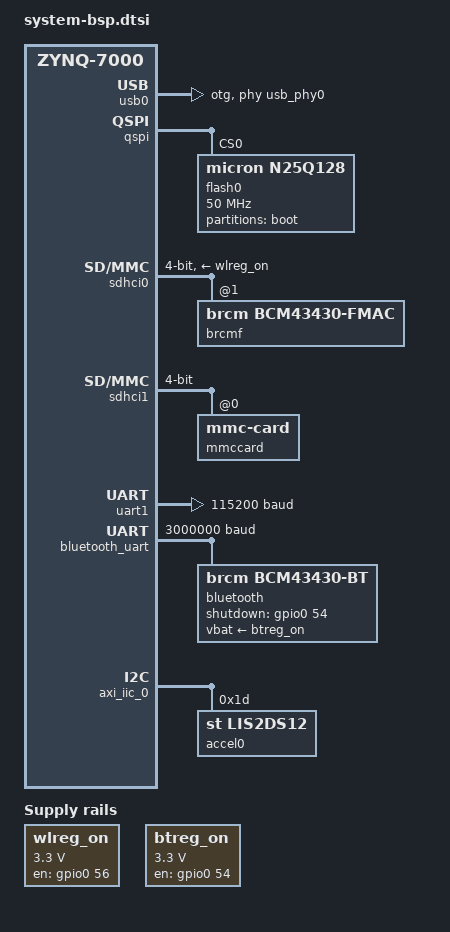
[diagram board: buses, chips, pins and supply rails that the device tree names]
#include "zynq-7000.dtsi"
#include "pl.dtsi"
#include "pcw.dtsi"
//#include "xilinx-vip.h"
/ {

    aliases {
        i2c0 = &axi_iic_0;
        serial0 = &uart1;
        serial1 = &uart0;
        serial2 = &bluetooth_uart;
        spi0 = &qspi;
    };

    /* WiFi Module:  WL_REG_ON GPIO Control */
    wlreg_on: wlreg-on {
        compatible = "regulator-fixed";
        regulator-name = "wlreg_on";
        enable-active-high;
        gpio = <&gpio0 56 0>;
        regulator-min-microvolt = <3300000>;
        regulator-max-microvolt = <3300000>;
        startup-delay-us = <100>;
    };

    /***** Uncomment this to use bcmdhd driver instead of brcmfmac driver
    bcmdhd_wlan_0: bcmdhd_wlan@0 {
        compatible = "android,bcmdhd_wlan";
        wlreg_on-supply = <&wlreg_on>;
    };
        /* gpios = <&gpio0 0 4>; */ /* OOB interrupts */

    btreg_on: btreg_on {
        compatible = "regulator-fixed";
        regulator-name = "btreg_on";
        regulator-min-microvolt = <3300000>;
        regulator-max-microvolt = <3300000>;
        gpio = <&gpio0 54 0>;
        enable-active-high;
        regulator-always-on;
        startup-delay-us = <100000>; /* 100ms delay después de activar */
    };
};

/{
    usb_phy0: usb_phy@0 {
        compatible = "ulpi-phy";
        #phy-cells = <0>;
        reg = <0xe0002000 0x1000>;
        view-port = <0x0170>;
        drv-vbus;
    };
};

&usb0 {
    dr_mode = "otg";
    usb-phy = <&usb_phy0>;
} ;

/* QSPI addresses are defined with petalinux-config, but here they are overwritten so that one can program the flash internally */
&qspi {
    #address-cells = <1>;
    #size-cells = <0>;
    flash0: flash@0 {
        compatible = "micron,m25p80";
        reg = <0x0>;
        #address-cells = <1>;
        #size-cells = <1>;
        spi-max-frequency = <50000000>;
        partition@0 {
            label = "boot";
            reg = <0x00000000 0x00ff0000>;
        };
    };
};

/* SD Interface for Wi-Fi Module */
&sdhci0 {
    status = "okay";
    bus-width= <4>;
    xlnx,has-cd = <0x0>;
    xlnx,has-power = <0x0>;
    xlnx,has-wp = <0x0>;
    non-removeable;
    broken-cd;
    vmmc-supply = <&wlreg_on>;  /* Uncomment for brcmfmac */
    /* wifi-host; */ /* uncomment for bcmdhd */


        brcmf: brcmf@1 {
        status = "okay";
                reg = <1>;
                compatible = "brcm,bcm43430-fmac";
        /* interrupt-parent = <&gpio0>; */ /* For WL_HOST_WAKE OOB Interrupt */
        /* interrupts = <0 29 8>; */  /* PL-PS direct interrupt, Low Level */
        /* interrupts = <57 8>; */ /* GPIO EMIO 3, Low Level */
        /* interrupt-names = "host-wake"; */
    };
};

/* SD Interface for eMMC */
&sdhci1 {
    status = "okay";
    non-removeable;
    bus-width= <4>;
    xlnx,has-cd = <0x0>;
    xlnx,has-power = <0x0>;
    xlnx,has-wp = <0x0>;

    mmccard: mmccard@0 {
        reg = <0>;
        compatible = "mmc-card";
        broken-hpi;
    };
};

/* Console UART.  UART1 is tied to the USB serial port on the Zedboard */
&uart1 {
    status = "okay";
    current-speed = <115200>;
    port-number = <0>;
};

/* Bluetooth UART.  Goes through EMIO to the 1DX */
//~ &bluetooth_uart {
    //~ status = "okay";
    //~ current-speed = <115200>;
    //~ port-number = <2>;
//~ };

//~ &bluetooth_uart {
    //~ status = "okay";
    //~ current-speed = <3000000>;
    //~ uart-has-rtscts;
    //~ port-number = <2>;

    //~ bluetooth {
        //~ compatible = "brcm,bcm43430a1-bt"; //"brcm,bcm43430-bt";

        //~ shutdown-gpios = <&gpio0 54 0>;   /* BT_REG_ON */
        //~ max-speed = <3000000>;

        //~ vbat-supply = <&btreg_on>;
    //~ };
//~ };

&bluetooth_uart {
    status = "okay";
    current-speed = <3000000>;

    /* Esto es CRÍTICO para control por hardware */
    uart-has-rtscts;

    linux,serial-index = <2>;
    port-number = <2>;
    reg-io-width = <4>;

    bluetooth {
        /* Usa UNA de estas compatibilidades, prueba ambas */
        compatible = "brcm,bcm43430-bt";  /* Opción 1 */

        /* GPIO para activar el módulo */
        shutdown-gpios = <&gpio0 54 0>;

        /* Velocidad máxima - debe coincidir con la del UART */
        max-speed = <3000000>;

        /* Referencia al regulador */
        vbat-supply = <&btreg_on>;

        /* Propiedad específica Broadcom */
        brcm,bt-pcm-int-params = [01 00 00 01];
    };
};


/* AXI IIC.  Interfaces with the ST LIS2DS12 accelerometer */
&axi_iic_0 {
    status = "okay";

    /* MiniZed doesn't support interrupts from the accelerometer */
        accel0: lis2ds12@1d {
            compatible = "st,lis2ds12";
            reg = <0x1d>;
        };

};


&flash0 {
    compatible = "micron,n25q128", "jedec,spi-nor";
};


/*
 * Rebind AXI DMA to the custom sdr_dma driver.
 * Replacing the compatible string prevents the Xilinx DMA engine
 * (xilinx-dma / dmaengine) from claiming this node before our driver.
 */
&axi_dma_0 {
    compatible = "sigtest,sdr-dma";
    status = "okay";
};

&amba {
        /delete-node/ ptm@f889d000 ;

        funnel@f8804000 {
                in-ports {
                      /delete-node/ port@1 ;
                };
        };
};


